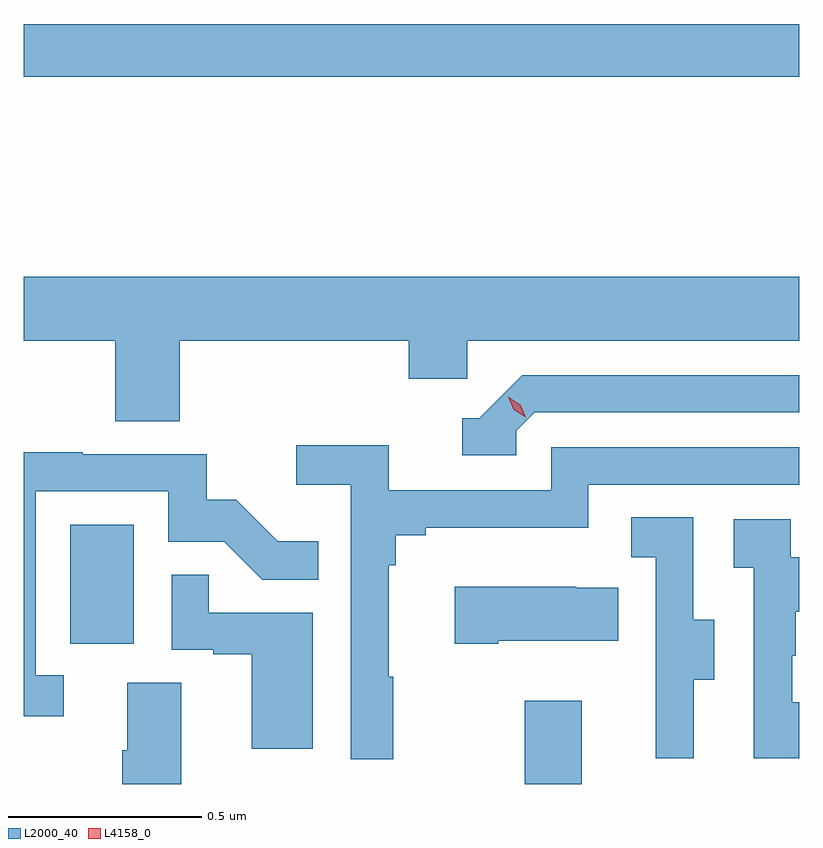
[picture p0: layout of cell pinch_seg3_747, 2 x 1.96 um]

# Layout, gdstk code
import gdstk
lib = gdstk.Library(unit=1e-6, precision=1e-09)
def R(c, l, rs):  # rectangles x0, y0, x1, y1
    for r in rs: c.add(gdstk.rectangle(r[:2], r[2:], *l))
def P(c, l, *ps):  # polygons
    for p in ps: c.add(gdstk.Polygon(p, *l))
L2000_40 = (2000, 40)
L4158_0 = (4158, 0)

pinch_seg3_747 = lib.new_cell('pinch_seg3_747')
R(pinch_seg3_747, L2000_40, [(886.438,739.733,886.585,739.948), (885.266,740.094,885.43,740.401), (885.146,741.556,887.146,741.692)])
P(pinch_seg3_747, L2000_40, [(885.548,740.876),(886.139,740.876),(886.139,740.778),(886.29,740.778),(886.29,740.876),(887.146,740.876),(887.146,741.04),(885.146,741.04),(885.146,740.876),(885.383,740.876),(885.383,740.668),(885.548,740.668)],
  [(886.416,740.643),(886.464,740.691),(887.146,740.691),(887.146,740.787),(886.431,740.787),(886.32,740.676),(886.277,740.676),(886.277,740.58),(886.416,740.58)],
  [(886.099,740.009),(886.087,740.009),(886.087,740.297),(886.106,740.297),(886.106,740.374),(886.183,740.374),(886.183,740.393),(886.602,740.393),(886.602,740.505),(887.146,740.505),(887.146,740.601),(886.506,740.601),(886.506,740.49),(886.088,740.49),(886.088,740.606),(885.849,740.606),(885.849,740.504),(885.99,740.504),(885.99,739.797),(886.099,739.797)],
  [(885.25,740.013),(885.177,740.013),(885.177,740.487),(885.519,740.487),(885.519,740.358),(885.663,740.358),(885.761,740.26),(885.905,740.26),(885.905,740.359),(885.801,740.359),(885.694,740.466),(885.618,740.466),(885.618,740.583),(885.299,740.583),(885.299,740.588),(885.146,740.588),(885.146,739.908),(885.25,739.908)],
  [(886.873,740.002),(886.927,740.002),(886.927,740.157),(886.872,740.157),(886.872,740.42),(886.713,740.42),(886.713,740.317),(886.776,740.317),(886.776,740.013),(886.775,740.013),(886.775,739.8),(886.873,739.8)],
  [(887.146,739.944),(887.127,739.944),(887.127,740.063),(887.137,740.063),(887.137,740.177),(887.146,740.177),(887.146,740.317),(887.124,740.317),(887.124,740.415),(886.977,740.415),(886.977,740.291),(887.028,740.291),(887.028,739.8),(887.146,739.8)],
  [(885.892,740.175),(885.623,740.175),(885.623,740.273),(885.528,740.273),(885.528,740.079),(885.635,740.079),(885.635,740.067),(885.734,740.067),(885.734,739.824),(885.892,739.824)],
  [(886.369,740.102),(886.679,740.102),(886.679,740.239),(886.571,740.239),(886.571,740.242),(886.257,740.242),(886.257,740.095),(886.369,740.095)],
  [(885.553,739.994),(885.413,739.994),(885.413,739.82),(885.401,739.82),(885.401,739.733),(885.553,739.733)])
P(pinch_seg3_747, L4158_0, [(886.441,740.678),(886.41,740.698),(886.395,740.731),(886.395,740.731),(886.395,740.731),(886.426,740.711),(886.441,740.678),(886.441,740.678)])

lib.write_gds('pinch_seg3_747.gds')
